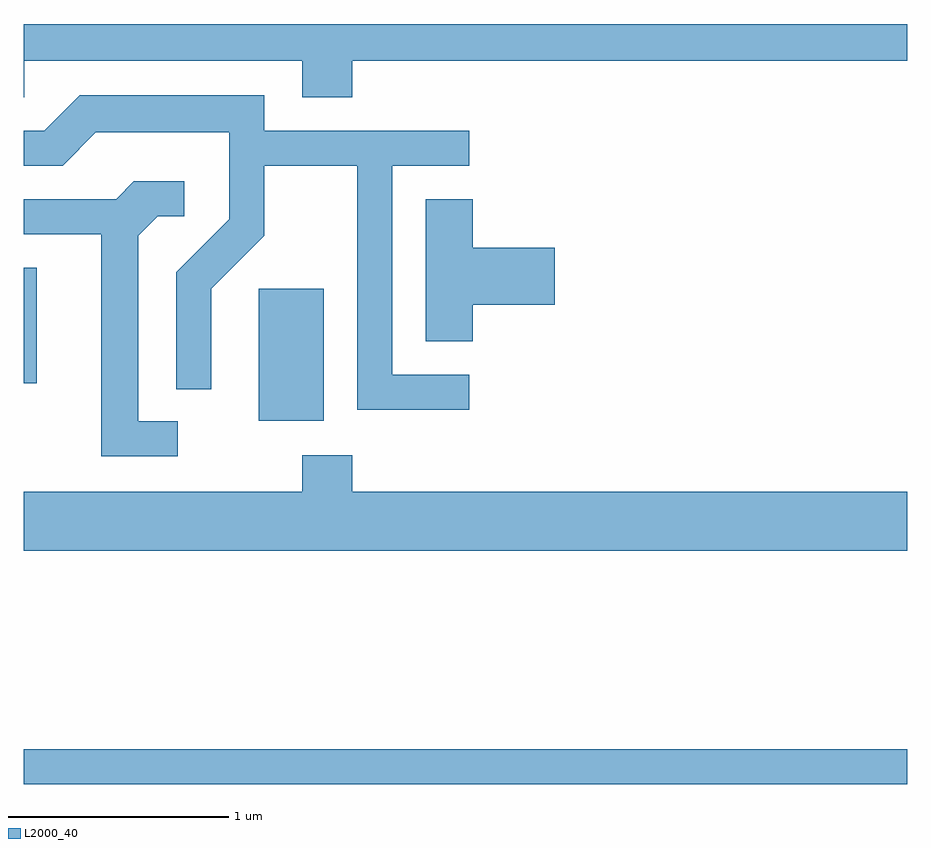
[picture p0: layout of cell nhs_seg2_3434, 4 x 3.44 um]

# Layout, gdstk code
import gdstk
lib = gdstk.Library(unit=1e-6, precision=1e-09)
def R(c, l, rs):  # rectangles x0, y0, x1, y1
    for r in rs: c.add(gdstk.rectangle(r[:2], r[2:], *l))
def P(c, l, *ps):  # polygons
    for p in ps: c.add(gdstk.Polygon(p, *l))
L2000_40 = (2000, 40)

nhs_seg2_3434 = lib.new_cell('nhs_seg2_3434')
R(nhs_seg2_3434, L2000_40, [(285.611,1058.361,289.611,1058.519), (286.676,1060.006,286.969,1060.604), (285.611,1060.176,285.669,1060.699)])
P(nhs_seg2_3434, L2000_40, [(285.614,1061.636),(286.871,1061.636),(286.871,1061.471),(287.099,1061.471),(287.099,1061.636),(289.611,1061.636),(289.611,1061.802),(285.611,1061.802),(285.611,1061.471),(285.614,1061.471)],
  [(287.628,1060.214),(287.279,1060.214),(287.279,1061.161),(287.628,1061.161),(287.628,1061.319),(286.699,1061.319),(286.699,1061.479),(285.864,1061.479),(285.704,1061.319),(285.611,1061.319),(285.611,1061.161),(285.787,1061.161),(285.937,1061.311),(286.541,1061.311),(286.541,1060.917),(286.301,1060.677),(286.301,1060.148),(286.459,1060.148),(286.459,1060.604),(286.699,1060.844),(286.699,1061.161),(287.121,1061.161),(287.121,1060.056),(287.628,1060.056)],
  [(286.308,1060.004),(286.129,1060.004),(286.129,1060.844),(286.217,1060.931),(286.338,1060.931),(286.338,1061.089),(286.109,1061.089),(286.029,1061.009),(285.611,1061.009),(285.611,1060.851),(285.961,1060.851),(285.961,1059.846),(286.308,1059.846)],
  [(287.644,1060.531),(288.014,1060.531),(288.014,1060.789),(287.644,1060.789),(287.644,1061.009),(287.431,1061.009),(287.431,1060.366),(287.644,1060.366)],
  [(289.611,1059.684),(287.099,1059.684),(287.099,1059.849),(286.871,1059.849),(286.871,1059.684),(285.611,1059.684),(285.611,1059.416),(289.611,1059.416)])

lib.write_gds('nhs_seg2_3434.gds')
